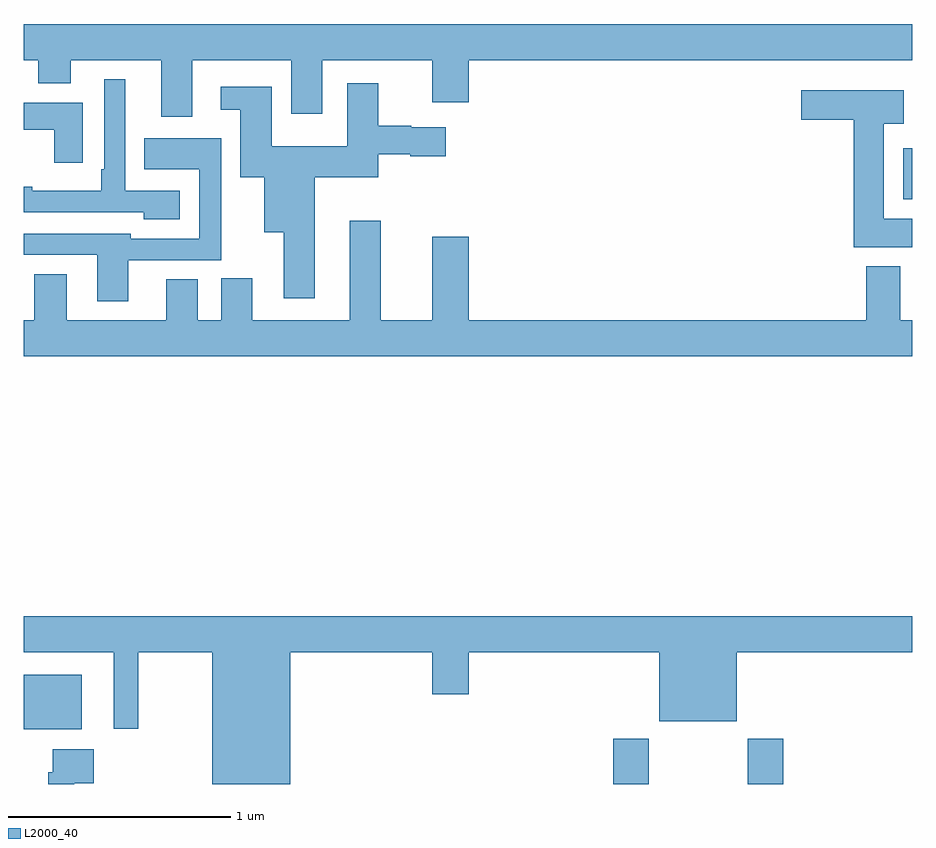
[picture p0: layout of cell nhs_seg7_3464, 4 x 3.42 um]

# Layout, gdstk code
import gdstk
lib = gdstk.Library(unit=1e-6, precision=1e-09)
def R(c, l, rs):  # rectangles x0, y0, x1, y1
    for r in rs: c.add(gdstk.rectangle(r[:2], r[2:], *l))
def P(c, l, *ps):  # polygons
    for p in ps: c.add(gdstk.Polygon(p, *l))
L2000_40 = (2000, 40)

nhs_seg7_3464 = lib.new_cell('nhs_seg7_3464')
R(nhs_seg7_3464, L2000_40, [(333.653,1024,333.813,1024.204), (334.258,1024,334.418,1024.204), (331,1024.247,331.261,1024.492), (334.958,1026.632,335,1026.862)])
P(nhs_seg7_3464, L2000_40, [(331.759,1027.256),(332.204,1027.256),(332.204,1027.017),(332.344,1027.017),(332.344,1027.256),(332.84,1027.256),(332.84,1027.068),(333.004,1027.068),(333.004,1027.256),(335,1027.256),(335,1027.42),(331,1027.42),(331,1027.256),(331.066,1027.256),(331.066,1027.154),(331.213,1027.154),(331.213,1027.256),(331.619,1027.256),(331.619,1027.002),(331.759,1027.002)],
  [(331.702,1026.669),(331.458,1026.669),(331.458,1027.171),(331.362,1027.171),(331.362,1026.766),(331.35,1026.766),(331.35,1026.669),(331.038,1026.669),(331.038,1026.688),(331,1026.688),(331,1026.573),(331.541,1026.573),(331.541,1026.542),(331.702,1026.542)],
  [(332.311,1026.731),(332.596,1026.731),(332.596,1026.833),(332.739,1026.833),(332.739,1026.826),(332.899,1026.826),(332.899,1026.955),(332.744,1026.955),(332.744,1026.963),(332.596,1026.963),(332.596,1027.153),(332.456,1027.153),(332.456,1026.871),(332.116,1026.871),(332.116,1027.138),(331.887,1027.138),(331.887,1027.034),(331.976,1027.034),(331.976,1026.731),(332.084,1026.731),(332.084,1026.482),(332.171,1026.482),(332.171,1026.186),(332.311,1026.186)],
  [(335,1026.544),(334.87,1026.544),(334.87,1026.971),(334.96,1026.971),(334.96,1027.123),(334.5,1027.123),(334.5,1026.989),(334.736,1026.989),(334.736,1026.416),(335,1026.416)],
  [(331.267,1027.066),(331,1027.066),(331,1026.944),(331.138,1026.944),(331.138,1026.795),(331.267,1026.795)],
  [(331.471,1026.357),(331.889,1026.357),(331.889,1026.907),(331.543,1026.907),(331.543,1026.767),(331.791,1026.767),(331.791,1026.453),(331.482,1026.453),(331.482,1026.477),(331,1026.477),(331,1026.381),(331.331,1026.381),(331.331,1026.173),(331.471,1026.173)],
  [(335,1026.088),(334.945,1026.088),(334.945,1026.331),(334.793,1026.331),(334.793,1026.088),(333.004,1026.088),(333.004,1026.463),(332.84,1026.463),(332.84,1026.088),(332.608,1026.088),(332.608,1026.535),(332.468,1026.535),(332.468,1026.088),(332.029,1026.088),(332.029,1026.276),(331.89,1026.276),(331.89,1026.088),(331.783,1026.088),(331.783,1026.272),(331.643,1026.272),(331.643,1026.088),(331.195,1026.088),(331.195,1026.295),(331.048,1026.295),(331.048,1026.088),(331,1026.088),(331,1025.924),(335,1025.924)],
  [(331,1024.592),(331.406,1024.592),(331.406,1024.248),(331.516,1024.248),(331.516,1024.592),(331.85,1024.592),(331.85,1024),(332.2,1024),(332.2,1024.592),(332.84,1024.592),(332.84,1024.404),(333.004,1024.404),(333.004,1024.592),(333.86,1024.592),(333.86,1024.283),(334.21,1024.283),(334.21,1024.592),(335,1024.592),(335,1024.756),(331,1024.756)],
  [(331.229,1024.004),(331.315,1024.004),(331.315,1024.156),(331.131,1024.156),(331.131,1024.052),(331.111,1024.052),(331.111,1024),(331.229,1024)])

lib.write_gds('nhs_seg7_3464.gds')
